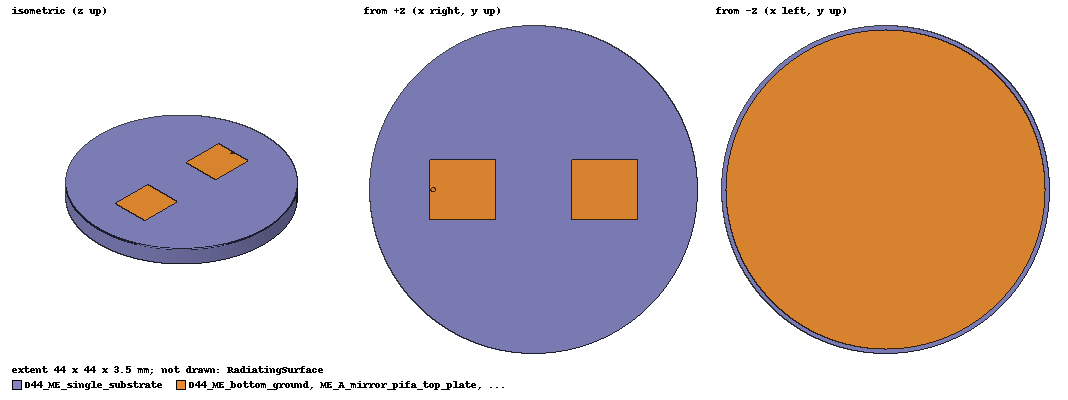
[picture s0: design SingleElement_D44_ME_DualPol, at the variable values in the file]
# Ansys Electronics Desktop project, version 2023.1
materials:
  vacuum: permittivity=1
  RO4350B_custom_D44_Topology: permittivity=3.48 permeability=1 dielectric_loss_tangent=0.0037
  copper: permeability=0.999991 conductivity=58000000
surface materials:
  Steel-oxidised-surface

design SingleElement_D44_ME_DualPol (HFSS, HFSS Modal Network, model units mm)
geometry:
  D44_ME_single_substrate [RO4350B_custom_D44_Topology] = cylinder(axis=Z, base_centre=(0mm, 0mm, 0mm), radius=22mm, height=3.5mm, segments=128)
  D44_ME_bottom_ground [copper] = circle(normal=Z, centre=(0mm, 0mm, 0mm), radius=21.4mm, segments=128)
  ME_A_mirror_pifa_top_plate [copper] = polyline(z=3.5mm, xy in mm: (-5.1, 4) (-13.9, 4) (-13.9, -4) (-5.1, -4) (-5.1, 4), closed, covered)
  ME_A_mirror_pifa_short_wall [copper] = polyline(x=-5.1mm, yz in mm: (2, 0) (-2, 0) (-2, 3.5) (2, 3.5) (2, 0), closed, covered)
  ME_A_mirror_pifa_side_fence_pos [copper] = polyline(y=-4mm, xz in mm: (-5.1, 0) (-11.1, 0) (-11.1, 3.5) (-5.1, 3.5) (-5.1, 0), closed, covered)
  ME_A_mirror_pifa_side_fence_neg [copper] = polyline(y=4mm, xz in mm: (-5.1, 0) (-11.1, 0) (-11.1, 3.5) (-5.1, 3.5) (-5.1, 0), closed, covered)
  P1A_feed_pad [copper] = circle(normal=Z, centre=(-13.5mm, 4.8985872e-16mm, 3.5mm), radius=0.3mm, segments=36)
  P1A_lumped_port_sheet = polyline(x=-13.5mm, yz in mm: (0.275, 0) (-0.275, 0) (-0.275, 3.5) (0.275, 3.5) (0.275, 0), closed, covered)
  ME_B_mirror_pifa_top_plate [copper] = polyline(z=3.5mm, xy in mm: (5.1, -4) (13.9, -4) (13.9, 4) (5.1, 4) (5.1, -4), closed, covered)
  ME_B_mirror_pifa_short_wall [copper] = polyline(x=5.1mm, yz in mm: (-2, 0) (2, 0) (2, 3.5) (-2, 3.5) (-2, 0), closed, covered)
  ME_B_mirror_pifa_side_fence_pos [copper] = polyline(y=4mm, xz in mm: (5.1, 0) (11.1, 0) (11.1, 3.5) (5.1, 3.5) (5.1, 0), closed, covered)
  ME_B_mirror_pifa_side_fence_neg [copper] = polyline(y=-4mm, xz in mm: (5.1, 0) (11.1, 0) (11.1, 3.5) (5.1, 3.5) (5.1, 0), closed, covered)
  P1B_load_switch_off_load_sheet = polyline(x=13.5mm, yz in mm: (-0.275, 0) (0.275, 0) (0.275, 3.5) (-0.275, 3.5) (-0.275, 0), closed, covered)
  RadiatingSurface [vacuum] = region(absolute_offset=14.285714mm on all sides)
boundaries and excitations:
  P1B_load_switch_off_load: Lumped RLC Objects=P1B_load_switch_off_load_sheet CurrentLine{(13.5, 0, 3.5) -> (13.5, 0, 0)} RLC_Type=Parallel Resistance=50ohm
  D44_ME_PEC_metallization: Perfect E Objects=[D44_ME_bottom_ground, ME_A_mirror_pifa_top_plate, ME_A_mirror_pifa_short_wall, ME_A_mirror_pifa_side_fence_pos, ME_A_mirror_pifa_side_fence_neg, P1A_feed_pad, ME_B_mirror_pifa_top_plate, ME_B_mirror_pifa_short_wall, ME_B_mirror_pifa_side_fence_pos, ME_B_mirror_pifa_side_fence_neg]
  Open1: Radiation Objects=RadiatingSurface
  P1A: Lumped Port Objects=P1A_lumped_port_sheet LumpedPortType=Modal Modes{Mode1{IntLine{(-13.5, 0, 3.5) -> (-13.5, 0, 0)} CharImp=Zpi RenormImp=50ohm}} Impedance=50ohm
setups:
  Setup_CH9: HfssDriven Frequency=8GHz MaxDeltaS=0.03 MaximumPasses=5 MinimumPasses=2 MinimumConvergedPasses=1 PercentRefinement=30 BasisOrder=1 PortAccuracy=2 DrivenSolverType="Direct Solver"
    sweep Sweep_CH9: point 8GHz; SaveSingleField Type=Discrete SaveFields SaveRadFields
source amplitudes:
  P1A:1: 1W 0deg
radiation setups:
  3D: Infinite Sphere Theta=0deg..180deg step 2deg Phi=-180deg..180deg step 2deg
  Elevation: Infinite Sphere Theta=-180deg..180deg step 1deg Phi=0deg..90deg step 90deg
  Azimuth: Infinite Sphere Theta=90deg..90deg step 0deg Phi=-180deg..180deg step 1deg
  Upper_Hemisphere_5deg: Infinite Sphere Theta=0deg..360deg step 5deg Phi=0deg..90deg step 5deg
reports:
  D44_ME_DUALPOL_SINGLE_S_Parameters: dB(S(P1A:1,P1A:1)) vs Freq on Setup_CH9 : Sweep_CH9
  D44_ME_DUALPOL_SINGLE_GainTotal_8GHz: dB(GainTotal) vs Phi, Theta on Setup_CH9 : Sweep_CH9, Upper_Hemisphere_5deg [Freq=8GHz]
  D44_ME_DUALPOL_SINGLE_AxialRatio_8GHz: AxialRatioValue vs Phi, Theta on Setup_CH9 : Sweep_CH9, Upper_Hemisphere_5deg [Freq=8GHz]
